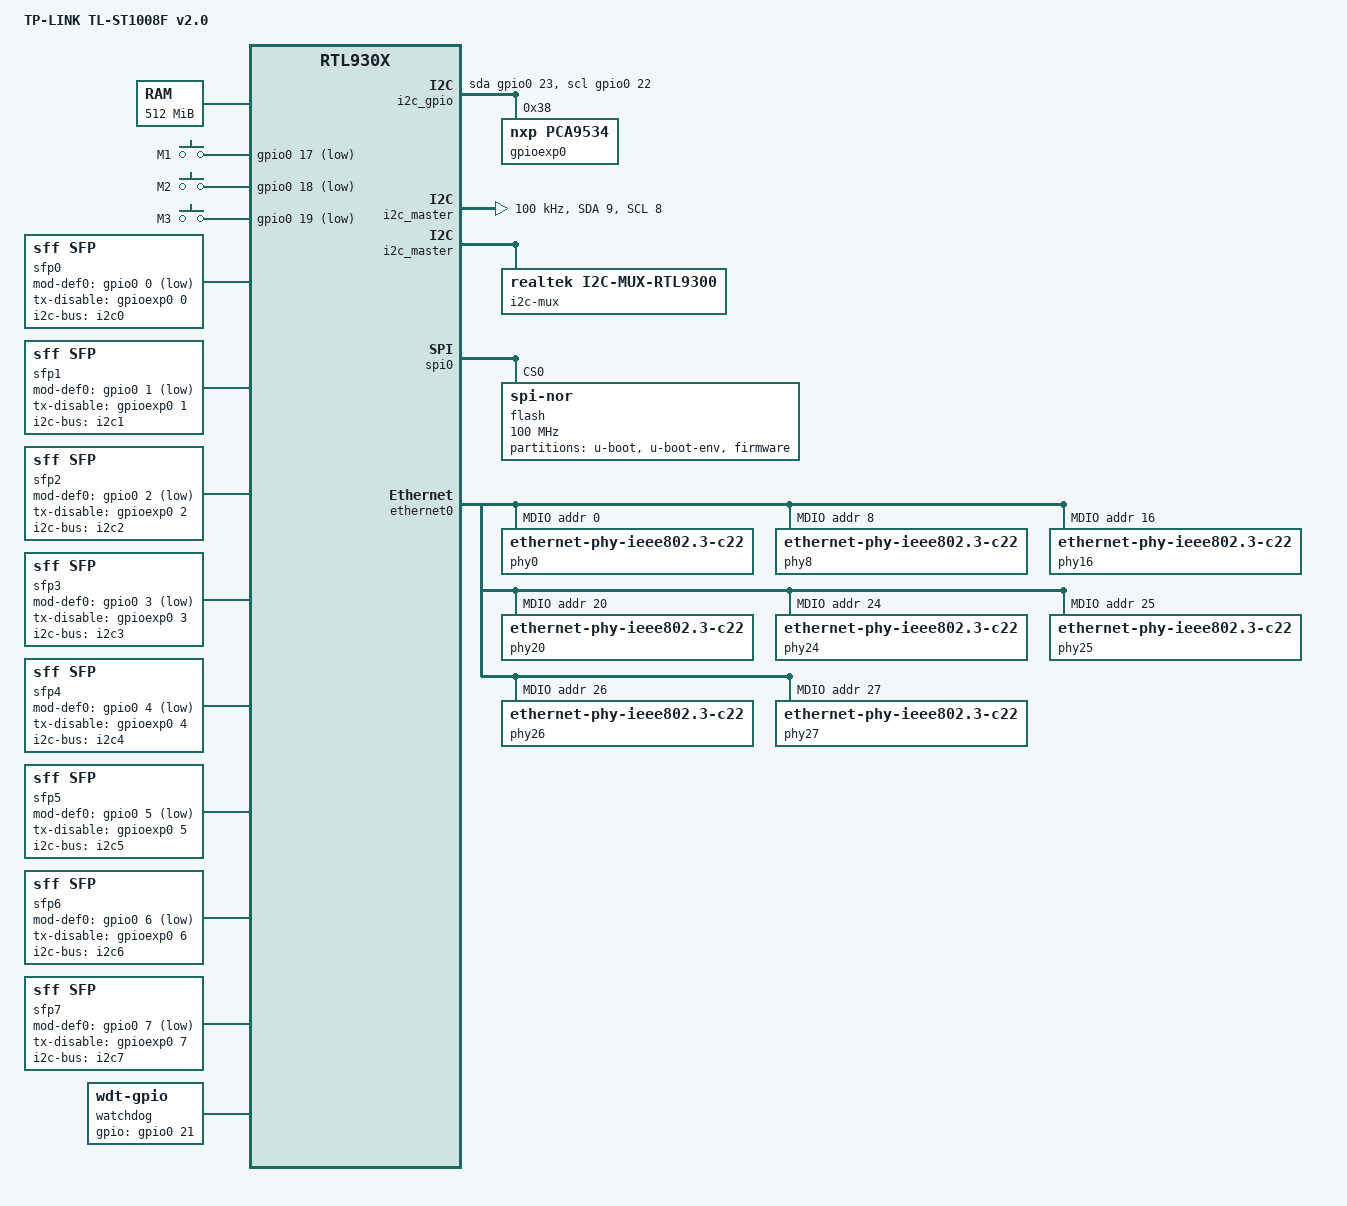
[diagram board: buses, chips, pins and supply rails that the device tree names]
// SPDX-License-Identifier: GPL-2.0-or-later

#include "rtl930x.dtsi"

#include <dt-bindings/input/input.h>
#include <dt-bindings/gpio/gpio.h>
#include <dt-bindings/leds/common.h>

/ {
	compatible = "tp-link,tl-st1008f,v2.0", "realtek,rtl9303-soc", "realtek,rtl930x-soc";
	model = "TP-LINK TL-ST1008F v2.0";

	memory@0 {
		device_type = "memory";
		reg = <0x00000000 0x10000000>, /* first 256 MiB */
		      <0x20000000 0x10000000>; /* remaining 256 MiB */
	};

	chosen {
		stdout-path = "serial0:115200n8";
	};

	keys {
		compatible = "gpio-keys";

		m1 {
			label = "M1";
			gpios = <&gpio0 17 GPIO_ACTIVE_LOW>;
			debounce-interval = <50>;
			linux,code = <BTN_0>;
			linux,input-type = <EV_SW>;
		};

		m2 {
			label = "M2";
			gpios = <&gpio0 18 GPIO_ACTIVE_LOW>;
			debounce-interval = <50>;
			linux,code = <BTN_1>;
			linux,input-type = <EV_SW>;
		};

		m3 {
			label = "M3";
			gpios = <&gpio0 19 GPIO_ACTIVE_LOW>;
			debounce-interval = <50>;
			linux,code = <BTN_2>;
			linux,input-type = <EV_SW>;
		};
	};

	led_set {
		compatible = "realtek,rtl9300-leds";
		active-high;

		led_set0 = <0x0ba0 0x0a08 0x0a01>;
	};

	i2c_gpio {
		compatible = "i2c-gpio";
		#address-cells = <1>;
		#size-cells = <0>;
		i2c-gpio,delay-us = <2>;
		scl-gpios = <&gpio0 22 (GPIO_ACTIVE_HIGH | GPIO_OPEN_DRAIN)>;
		sda-gpios = <&gpio0 23 (GPIO_ACTIVE_HIGH | GPIO_OPEN_DRAIN)>;

		gpioexp0: i2c@38 {
			reg = <0x38>;
			compatible = "nxp,pca9534";
			gpio-controller;
			#gpio-cells = <2>;
		};
	};

	i2c_master: i2c@1b00036c {
		compatible = "realtek,rtl9300-i2c";
		reg = <0x1b00036c 0x3c>;
		#address-cells = <1>;
		#size-cells = <0>;
		scl-pin = <8>;
		sda-pin = <9>;
		clock-frequency = <100000>;
	};

	i2c-mux {
		compatible = "realtek,i2c-mux-rtl9300";
		i2c-parent = <&i2c_master>;
		#address-cells = <1>;
		#size-cells = <0>;

		i2c0: i2c@0 {
			reg = <0>;
			scl-pin = <8>;
			sda-pin = <9>;
		};

		i2c1: i2c@1 {
			reg = <1>;
			scl-pin = <8>;
			sda-pin = <10>;
		};

		i2c2: i2c@2 {
			reg = <2>;
			scl-pin = <8>;
			sda-pin = <11>;
		};

		i2c3: i2c@3 {
			reg = <3>;
			scl-pin = <8>;
			sda-pin = <12>;
		};

		i2c4: i2c@4 {
			reg = <4>;
			scl-pin = <8>;
			sda-pin = <13>;
		};

		i2c5: i2c@5 {
			reg = <5>;
			scl-pin = <8>;
			sda-pin = <14>;
		};

		i2c6: i2c@6 {
			reg = <6>;
			scl-pin = <8>;
			sda-pin = <15>;
		};

		i2c7: i2c@7 {
			reg = <7>;
			scl-pin = <8>;
			sda-pin = <16>;
		};
	};

	sfp0: sfp-p1 {
		compatible = "sff,sfp";
		i2c-bus = <&i2c0>;
		mod-def0-gpio = <&gpio0 0 GPIO_ACTIVE_LOW>;
		tx-disable-gpio = <&gpioexp0 0 GPIO_ACTIVE_HIGH>;
		maximum-power-milliwatt = <2900>;
	};

	sfp1: sfp-p2 {
		compatible = "sff,sfp";
		i2c-bus = <&i2c1>;
		mod-def0-gpio = <&gpio0 1 GPIO_ACTIVE_LOW>;
		tx-disable-gpio = <&gpioexp0 1 GPIO_ACTIVE_HIGH>;
		maximum-power-milliwatt = <1500>;
	};

	sfp2: sfp-p3 {
		compatible = "sff,sfp";
		i2c-bus = <&i2c2>;
		mod-def0-gpio = <&gpio0 2 GPIO_ACTIVE_LOW>;
		tx-disable-gpio = <&gpioexp0 2 GPIO_ACTIVE_HIGH>;
		maximum-power-milliwatt = <1500>;
	};

	sfp3: sfp-p4 {
		compatible = "sff,sfp";
		i2c-bus = <&i2c3>;
		mod-def0-gpio = <&gpio0 3 GPIO_ACTIVE_LOW>;
		tx-disable-gpio = <&gpioexp0 3 GPIO_ACTIVE_HIGH>;
		maximum-power-milliwatt = <2000>;
	};

	sfp4: sfp-p5 {
		compatible = "sff,sfp";
		i2c-bus = <&i2c4>;
		mod-def0-gpio = <&gpio0 4 GPIO_ACTIVE_LOW>;
		tx-disable-gpio = <&gpioexp0 4 GPIO_ACTIVE_HIGH>;
		maximum-power-milliwatt = <2000>;
	};

	sfp5: sfp-p6 {
		compatible = "sff,sfp";
		i2c-bus = <&i2c5>;
		mod-def0-gpio = <&gpio0 5 GPIO_ACTIVE_LOW>;
		tx-disable-gpio = <&gpioexp0 5 GPIO_ACTIVE_HIGH>;
		maximum-power-milliwatt = <1500>;
	};

	sfp6: sfp-p7 {
		compatible = "sff,sfp";
		i2c-bus = <&i2c6>;
		mod-def0-gpio = <&gpio0 6 GPIO_ACTIVE_LOW>;
		tx-disable-gpio = <&gpioexp0 6 GPIO_ACTIVE_HIGH>;
		maximum-power-milliwatt = <1500>;
	};

	sfp7: sfp-p8 {
		compatible = "sff,sfp";
		i2c-bus = <&i2c7>;
		mod-def0-gpio = <&gpio0 7 GPIO_ACTIVE_LOW>;
		tx-disable-gpio = <&gpioexp0 7 GPIO_ACTIVE_HIGH>;
		maximum-power-milliwatt = <2900>;
	};

	watchdog {
		compatible = "linux,wdt-gpio";
		gpios = <&gpio0 21 GPIO_ACTIVE_HIGH>;
		hw_algo = "toggle";
		hw_margin_ms = <1200>;
		always-running;
	};
};

&spi0 {
	status = "okay";

	flash@0 {
		compatible = "jedec,spi-nor";
		reg = <0>;
		spi-max-frequency = <100000000>;

		partitions {
			compatible = "fixed-partitions";
			#address-cells = <1>;
			#size-cells = <1>;

			partition@0 {
				label = "u-boot";
				reg = <0x0 0xe0000>;
			};

			partition@e0000 {
				label = "u-boot-env";
				reg = <0xe0000 0x10000>;
			};

			partition@f0000 {
				compatible = "openwrt,uimage", "denx,uimage";
				label = "firmware";
				reg = <0xf0000 0x1f10000>;
				openwrt,ih-magic = <0x93030000>;
			};
		};
	};
};

&ethernet0 {
	mdio: mdio-bus {
		compatible = "realtek,rtl838x-mdio";
		regmap = <&ethernet0>;
		#address-cells = <1>;
		#size-cells = <0>;

		phy0: ethernet-phy@0 {
			compatible = "ethernet-phy-ieee802.3-c22";
			phy-is-integrated;
			reg = <0>;
			sds = <2>;
		};

		phy8: ethernet-phy@8 {
			compatible = "ethernet-phy-ieee802.3-c22";
			phy-is-integrated;
			reg = <8>;
			sds = <3>;
		};

		phy16: ethernet-phy@10 {
			compatible = "ethernet-phy-ieee802.3-c22";
			phy-is-integrated;
			reg = <16>;
			sds = <4>;
		};

		phy20: ethernet-phy@14 {
			compatible = "ethernet-phy-ieee802.3-c22";
			phy-is-integrated;
			reg = <20>;
			sds = <5>;
		};

		phy24: ethernet-phy@18 {
			compatible = "ethernet-phy-ieee802.3-c22";
			phy-is-integrated;
			reg = <24>;
			sds = <6>;
		};

		phy25: ethernet-phy@19 {
			compatible = "ethernet-phy-ieee802.3-c22";
			phy-is-integrated;
			reg = <25>;
			sds = <7>;
		};

		phy26: ethernet-phy@1a {
			compatible = "ethernet-phy-ieee802.3-c22";
			phy-is-integrated;
			reg = <26>;
			sds = <8>;
		};

		phy27: ethernet-phy@1b {
			compatible = "ethernet-phy-ieee802.3-c22";
			phy-is-integrated;
			reg = <27>;
			sds = <9>;
		};
	};
};

&switch0 {
	ports {
		#address-cells = <1>;
		#size-cells = <0>;

		port@0 {
			reg = <0>;
			label = "lan1";
			phy-handle = <&phy0>;
			phy-mode = "10gbase-r";
			sfp = <&sfp0>;
			managed = "in-band-status";
			led-set = <0>;
		};

		port@8 {
			reg = <8>;
			label = "lan2";
			phy-handle = <&phy8>;
			phy-mode = "10gbase-r";
			sfp = <&sfp1>;
			managed = "in-band-status";
			led-set = <0>;
		};

		port@10 {
			reg = <16>;
			label = "lan3";
			phy-handle = <&phy16>;
			phy-mode = "10gbase-r";
			sfp = <&sfp2>;
			managed = "in-band-status";
			led-set = <0>;
		};

		port@14 {
			reg = <20>;
			label = "lan4";
			phy-handle = <&phy20>;
			phy-mode = "10gbase-r";
			sfp = <&sfp3>;
			managed = "in-band-status";
			led-set = <0>;
		};

		port@18 {
			reg = <24>;
			label = "lan5";
			phy-handle = <&phy24>;
			phy-mode = "10gbase-r";
			sfp = <&sfp4>;
			managed = "in-band-status";
			led-set = <0>;
		};

		port@19 {
			reg = <25>;
			label = "lan6";
			phy-handle = <&phy25>;
			phy-mode = "10gbase-r";
			sfp = <&sfp5>;
			managed = "in-band-status";
			led-set = <0>;
		};

		port@1a {
			reg = <26>;
			label = "lan7";
			phy-handle = <&phy26>;
			phy-mode = "10gbase-r";
			sfp = <&sfp6>;
			managed = "in-band-status";
			led-set = <0>;
		};

		port@1b {
			reg = <27>;
			label = "lan8";
			phy-handle = <&phy27>;
			phy-mode = "10gbase-r";
			sfp = <&sfp7>;
			managed = "in-band-status";
			led-set = <0>;
		};

		port@1c {
			ethernet = <&ethernet0>;
			reg = <28>;
			phy-mode = "internal";

			fixed-link {
				speed = <10000>;
				full-duplex;
			};
		};
	};
};

